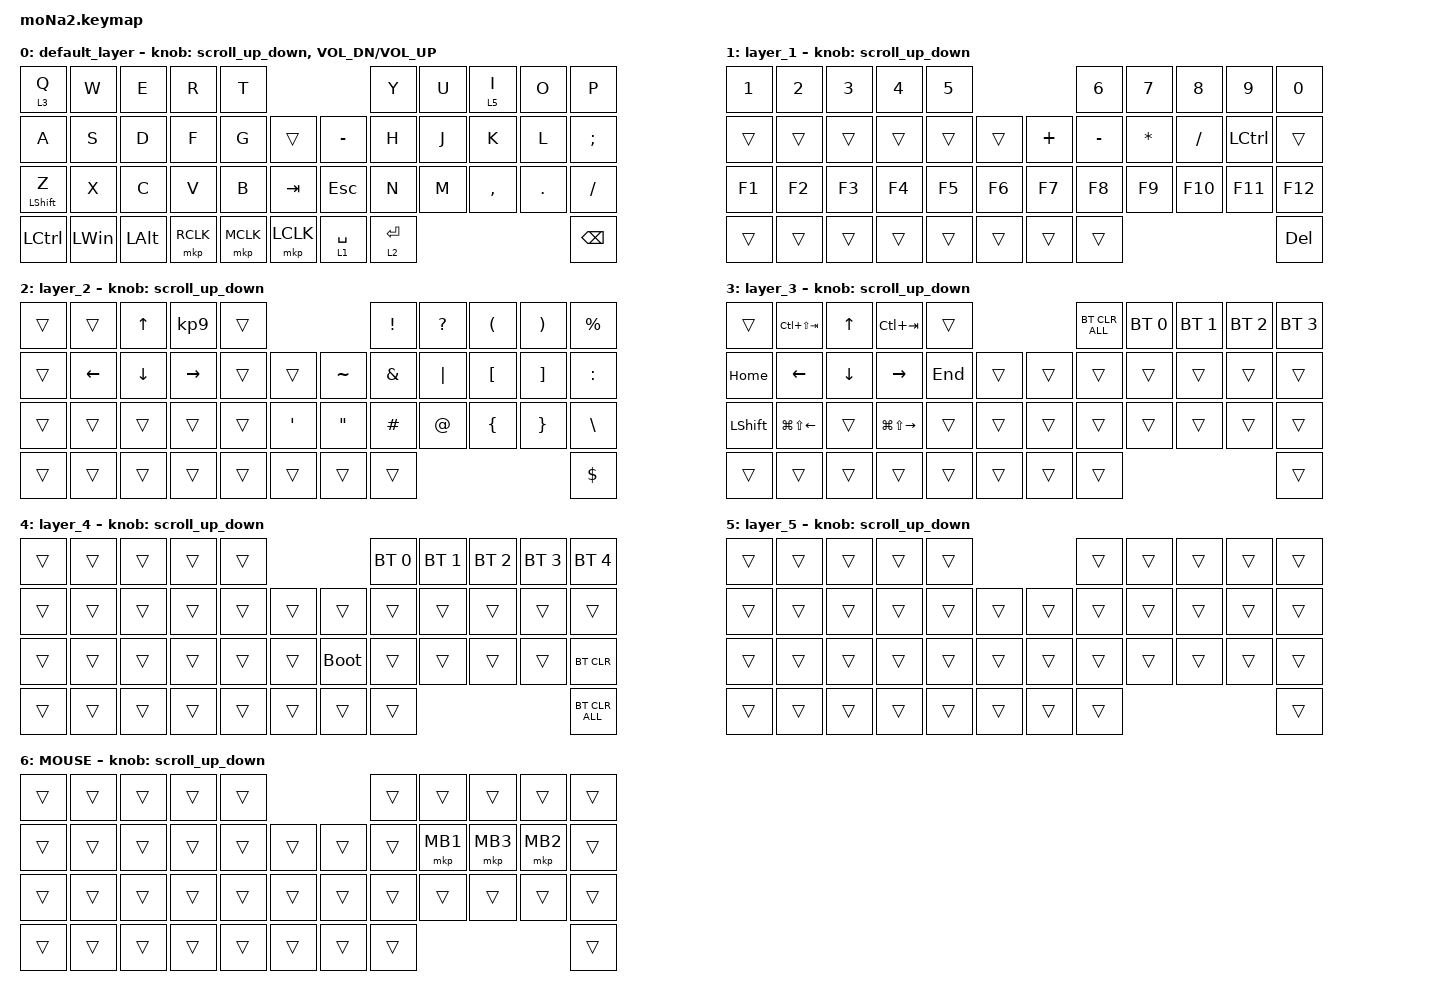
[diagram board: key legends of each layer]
#include <behaviors.dtsi>
#include <dt-bindings/zmk/bt.h>
#include <dt-bindings/zmk/keys.h>
#include <dt-bindings/zmk/pointing.h>

#define ZMK_POINTING_DEFAULT_SCRL_VAL 100
#define MOUSE 6

&mt {
    flavor = "balanced";
    quick-tap-ms = <0>;
};

/ {
    combos { compatible = "zmk,combos"; };

    macros {
        to_layer_0: to_layer_0 {
            compatible = "zmk,behavior-macro-one-param";
            #binding-cells = <1>;
            bindings = <&to 0 &macro_param_1to1 &kp MACRO_PLACEHOLDER>;
            label = "TO_LAYER_0";
        };
    };

    behaviors {
        lt_to_layer_0: lt_to_layer_0 {
            compatible = "zmk,behavior-hold-tap";
            label = "LAYER_TAP_TO_0";
            bindings = <&mo>, <&to_layer_0>;

            #binding-cells = <2>;
            tapping-term-ms = <200>;
        };

        scroll_up_down: behavior_sensor_rotate_mouse_wheel_up_down {
            compatible = "zmk,behavior-sensor-rotate";
            #sensor-binding-cells = <0>;
            bindings = <&msc SCRL_UP>, <&msc SCRL_DOWN>;

            tap-ms = <20>;
        };
    };

    keymap {
        compatible = "zmk,keymap";

        default_layer {
            bindings = <
&lt 3 Q           &kp W         &kp E         &kp R      &kp T                                &kp Y        &kp U  &lt 5 I    &kp O    &kp P
&kp A             &kp S         &kp D         &kp F      &kp G      &trans       &kp MINUS    &kp H        &kp J  &kp K      &kp L    &kp SEMICOLON
&mt LEFT_SHIFT Z  &kp X         &kp C         &kp V      &kp B      &kp TAB      &kp ESCAPE   &kp N        &kp M  &kp COMMA  &kp DOT  &kp SLASH
&kp LCTRL         &kp LEFT_WIN  &kp LEFT_ALT  &mkp RCLK  &mkp MCLK  &mkp LCLK    &lt 1 SPACE  &lt 2 ENTER                             &kp BACKSPACE
            >;

            sensor-bindings =
                <&scroll_up_down>,
                <&inc_dec_kp C_VOL_DN C_VOL_UP>;
        };

        layer_1 {
            bindings = <
&kp NUMBER_1  &kp NUMBER_2  &kp NUMBER_3  &kp NUMBER_4  &kp NUMBER_5                      &kp N6     &kp NUMBER_7  &kp NUMBER_8  &kp NUMBER_9  &kp NUMBER_0
&trans        &trans        &trans        &trans        &trans        &trans    &kp PLUS  &kp MINUS  &kp ASTERISK  &kp SLASH     &kp LCTRL     &trans
&kp F1        &kp F2        &kp F3        &kp F4        &kp F5        &kp F6    &kp F7    &kp F8     &kp F9        &kp F10       &kp F11       &kp F12
&trans        &trans        &trans        &trans        &trans        &trans    &trans    &trans                                               &kp DELETE
            >;

            sensor-bindings = <&scroll_up_down>;
        };

        layer_2 {
            bindings = <
&trans  &trans          &kp UP_ARROW    &kp KP_NUMBER_9  &trans                                &kp EXCLAMATION  &kp QUESTION  &kp LEFT_PARENTHESIS  &kp RIGHT_PARENTHESIS  &kp PERCENT
&trans  &kp LEFT_ARROW  &kp DOWN_ARROW  &kp RIGHT_ARROW  &trans  &trans     &kp TILDE          &kp AMPERSAND    &kp PIPE      &kp LEFT_BRACKET      &kp RIGHT_BRACKET      &kp COLON
&trans  &trans          &trans          &trans           &trans  &kp SQT    &kp DOUBLE_QUOTES  &kp HASH         &kp AT_SIGN   &kp LEFT_BRACE        &kp RIGHT_BRACE        &kp BACKSLASH
&trans  &trans          &trans          &trans           &trans  &trans     &trans             &trans                                                                      &kp DOLLAR
            >;

            sensor-bindings = <&scroll_up_down>;
        };

        layer_3 {
            bindings = <
&trans          &kp LC(LS(TAB))         &kp UP_ARROW    &kp LC(TAB)              &trans                     &bt BT_CLR_ALL  &bt BT_SEL 0  &bt BT_SEL 1  &bt BT_SEL 2  &bt BT_SEL 3
&kp HOME        &kp LEFT_ARROW          &kp DOWN_ARROW  &kp RIGHT_ARROW          &kp END  &trans    &trans  &trans          &trans        &trans        &trans        &trans
&kp LEFT_SHIFT  &kp LG(LS(LEFT_ARROW))  &trans          &kp LG(LS(RIGHT_ARROW))  &trans   &trans    &trans  &trans          &trans        &trans        &trans        &trans
&trans          &trans                  &trans          &trans                   &trans   &trans    &trans  &trans                                                    &trans
            >;

            sensor-bindings = <&scroll_up_down>;
        };

        layer_4 {
            bindings = <
&trans  &trans  &trans  &trans  &trans                         &bt BT_SEL 0  &bt BT_SEL 1  &bt BT_SEL 2  &bt BT_SEL 3  &bt BT_SEL 4
&trans  &trans  &trans  &trans  &trans  &trans    &trans       &trans        &trans        &trans        &trans        &trans
&trans  &trans  &trans  &trans  &trans  &trans    &bootloader  &trans        &trans        &trans        &trans        &bt BT_CLR
&trans  &trans  &trans  &trans  &trans  &trans    &trans       &trans                                                  &bt BT_CLR_ALL
            >;

            sensor-bindings = <&scroll_up_down>;
        };

        layer_5 {
            bindings = <
&trans  &trans  &trans  &trans  &trans                    &trans  &trans  &trans  &trans  &trans
&trans  &trans  &trans  &trans  &trans  &trans    &trans  &trans  &trans  &trans  &trans  &trans
&trans  &trans  &trans  &trans  &trans  &trans    &trans  &trans  &trans  &trans  &trans  &trans
&trans  &trans  &trans  &trans  &trans  &trans    &trans  &trans                          &trans
            >;

            sensor-bindings = <&scroll_up_down>;
        };

        MOUSE {
            bindings = <
&trans  &trans  &trans  &trans  &trans                    &trans  &trans    &trans    &trans    &trans
&trans  &trans  &trans  &trans  &trans  &trans    &trans  &trans  &mkp MB1  &mkp MB3  &mkp MB2  &trans
&trans  &trans  &trans  &trans  &trans  &trans    &trans  &trans  &trans    &trans    &trans    &trans
&trans  &trans  &trans  &trans  &trans  &trans    &trans  &trans                                &trans
            >;

            sensor-bindings = <&scroll_up_down>;
        };
    };
};
